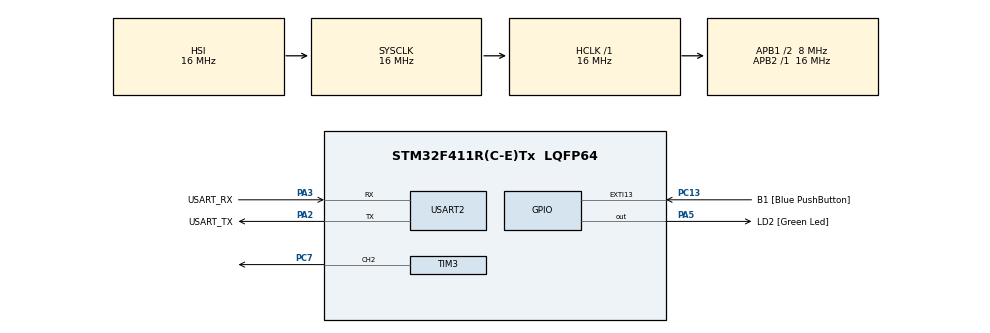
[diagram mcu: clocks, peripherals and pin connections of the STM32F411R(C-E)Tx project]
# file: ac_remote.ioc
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Mcu.Family=STM32F4
Mcu.Name=STM32F411R(C-E)Tx
Mcu.Package=LQFP64
NVIC.PriorityGroup=NVIC_PRIORITYGROUP_0
NVIC.TIM1_TRG_COM_TIM11_IRQn=true\:0\:0\:false\:false\:true\:true\:true\:true
NVIC.USART2_IRQn=true\:0\:0\:false\:false\:true\:true\:true\:true
PA13.GPIO_Label=TMS
PA13.Mode=Serial_Wire
PA13.Signal=SYS_JTMS-SWDIO
PA14.GPIO_Label=TCK
PA14.Mode=Serial_Wire
PA14.Signal=SYS_JTCK-SWCLK
PA2.GPIO_Label=USART_TX
PA2.Mode=Asynchronous
PA2.Signal=USART2_TX
PA3.GPIO_Label=USART_RX
PA3.Mode=Asynchronous
PA3.Signal=USART2_RX
PA5.GPIO_Label=LD2 [Green Led]
PA5.Signal=GPIO_Output
PB3.GPIO_Label=SWO
PB3.Signal=SYS_JTDO-SWO
PC13-ANTI_TAMP.GPIO_Label=B1 [Blue PushButton]
PC13-ANTI_TAMP.GPIO_ModeDefaultEXTI=GPIO_MODE_IT_FALLING
PC13-ANTI_TAMP.Signal=GPXTI13
PC14-OSC32_IN.Mode=LSE-External-Oscillator
PC14-OSC32_IN.Signal=RCC_OSC32_IN
PC15-OSC32_OUT.Mode=LSE-External-Oscillator
PC15-OSC32_OUT.Signal=RCC_OSC32_OUT
PC7.Signal=S_TIM3_CH2
PH0\ -\ OSC_IN.Mode=HSE-External-Clock-Source
PH0\ -\ OSC_IN.Signal=RCC_OSC_IN
PH1\ -\ OSC_OUT.Mode=HSE-External-Clock-Source
PH1\ -\ OSC_OUT.Signal=RCC_OSC_OUT
ProjectManager.HeapSize=0x200
ProjectManager.StackSize=0x400
ProjectManager.TargetToolchain=MDK-ARM V5.32
RCC.48MHZClocksFreq_Value=84000000
RCC.AHBFreq_Value=16000000
RCC.APB1CLKDivider=RCC_HCLK_DIV2
RCC.APB1Freq_Value=8000000
RCC.APB1TimFreq_Value=16000000
RCC.APB2Freq_Value=16000000
RCC.APB2TimFreq_Value=16000000
RCC.CortexFreq_Value=16000000
RCC.FLatency-AdvancedSettings=FLASH_LATENCY_0
RCC.HCLKFreq_Value=16000000
RCC.HSE_VALUE=8000000
RCC.HSI_VALUE=16000000
RCC.PLLN=336
RCC.PLLP=RCC_PLLP_DIV4
RCC.SYSCLKFreq_VALUE=16000000
RCC.VCOOutputFreq_Value=336000000
SH.S_TIM3_CH2.0=TIM3_CH2,PWM Generation2 CH2
TIM3.Channel-PWM\ Generation2\ CH2=TIM_CHANNEL_2
TIM3.Period=420
TIM3.Pulse-PWM\ Generation2\ CH2=140
USART2.VirtualMode=VM_ASYNC
VP_TIM11_VS_ClockSourceINT.Mode=Enable_Timer
VP_TIM3_VS_ClockSourceINT.Mode=Internal
board=NUCLEO-F411RE

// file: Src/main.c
/* USER CODE BEGIN Header */
/**
  ******************************************************************************
  * @file           : main.c
  * @brief          : Main program body
  ******************************************************************************
  * @attention
  *
  * Copyright (c) 2026 STMicroelectronics.
  * All rights reserved.
  *
  * This software is licensed under terms that can be found in the LICENSE file
  * in the root directory of this software component.
  * If no LICENSE file comes with this software, it is provided AS-IS.
  *
  ******************************************************************************
  */
/* USER CODE END Header */
#include "main.h"

/* USER CODE BEGIN Includes */
#include <stdio.h>
#include <stdint.h>
/* USER CODE END Includes */

/* USER CODE BEGIN PTD */
typedef enum {
  ON,
  OFF
} state_t;
/* USER CODE END PTD */

/* USER CODE BEGIN PD */
#define MODE_AUTO 0b0000
#define MODE_COOL 0b0001
#define MODE_DRY  0b0010
#define MODE_HEAT 0b0011
#define MODE_FAN  0b0100
#define MODE_OFF 0b0111
#define FAN_AUTO 0b0000
#define FAN_1 0b0100
#define FAN_2 0b0110
#define FAN_3 0b1000
#define FAN_4 0b1010
#define FAN_5 0b1100
#define BYTE_1 0b11110010
#define BYTE_2 0b00001101
#define BYTE_3 0b00000011
#define BYTE_4 0b11111100
#define BYTE_5 0b00000001
#define BYTE_8_NO_PURE 0b00000000
#define BYTE_8_PURE 0b00010000
#define BUFF_SIZE 9
/* USER CODE END PD */

TIM_HandleTypeDef htim3;
TIM_HandleTypeDef htim11;

UART_HandleTypeDef huart2;

/* USER CODE BEGIN PV */
volatile uint8_t rx_char;
volatile uint8_t transmitting = 0;
volatile uint16_t index = 0;
volatile uint8_t send_ack = 0;
volatile uint16_t tmr_intervals[294];
volatile uint8_t repeat_flag = 1;

/* USER CODE END PV */

void SystemClock_Config(void);
static void MX_GPIO_Init(void);
static void MX_TIM3_Init(void);
static void MX_TIM11_Init(void);
static void MX_USART2_UART_Init(void);
/* USER CODE BEGIN PFP */
void create_instruction(uint8_t rx, uint8_t *buff);
void xor_cheksum(uint8_t *buff, int size);
void interrupt_intervals(uint16_t *intervals, uint8_t *command, int length);

/* USER CODE END PFP */

int main(void)
{

  /* USER CODE BEGIN 1 */
    uint8_t inital_msg[50];
    int msg_length;
    uint8_t command[9] = {0};
    state_t state = OFF; //Initialize with state off
    uint8_t on_flag = 0;

  /* USER CODE END 1 */

  /* MCU Configuration--------------------------------------------------------*/

  /* Reset of all peripherals, Initializes the Flash interface and the Systick. */
  HAL_Init();

  /* Configure the system clock */
  SystemClock_Config();

  /* Initialize all configured peripherals */
  MX_GPIO_Init();
  MX_TIM3_Init();
  MX_TIM11_Init();
  MX_USART2_UART_Init();
  /* USER CODE BEGIN 2 */
	HAL_UART_Receive_IT(&huart2, (uint8_t*)&rx_char, 1);

  msg_length = sprintf(inital_msg, "System Initialized.... \r\n");
  HAL_UART_Transmit(&huart2, inital_msg, msg_length, 10);

  /* USER CODE END 2 */

  /* Infinite loop */
  /* USER CODE BEGIN WHILE */
  while (1)
  {

   //Check states
   if(state == OFF){
    //We fist need to open the AC
    if(rx_char != 'B') {
			__NOP();
		};
    if(rx_char == 'B'){
      on_flag = 1;
      state = ON; //Update the state

    }
   }

   if(state == ON) on_flag = 1;

   //START PROCESSING IF FLAG IS ON
   if(on_flag == 1 && transmitting == 0 && repeat_flag == 0){
          //Raise repeat flag to not re-transmit the message
          repeat_flag = 1;

          //Use create instruction to create the bitstring
          create_instruction(rx_char, command);

          //Create the cheksum (last byte)
          xor_cheksum(command, BUFF_SIZE);

          //Fill the array with the intervals between each interrupt
          interrupt_intervals(tmr_intervals, command, BUFF_SIZE);

          //Also check if the command was off to drop the on flag
          if(rx_char == 'A') {
            on_flag = 0;
            state = OFF;
          }
          //Set step to zero and set transmitting to one so we start transmitting
          transmitting = 1;
          index = 1;
          //Iitialize the first interrupt duration and start the timer(TIM11)
          __HAL_TIM_SET_AUTORELOAD(&htim11, tmr_intervals[0]);
          HAL_TIM_Base_Start_IT(&htim11);
          //Start PWM
          HAL_TIM_PWM_Start(&htim3, TIM_CHANNEL_2);

          //From now on we leave the interrupt service routine and the callback to run the pwm
   }

   if(send_ack){
       send_ack = 0;

       // send ack msg with \n in the end so readline from py script can recognize the end of the message
       uint8_t ack_msg[3] = {rx_char, '\r', '\n'};
       HAL_UART_Transmit(&huart2, ack_msg, 3, 10);

   }

   __WFI();
    /* USER CODE END WHILE */

  }
}

void SystemClock_Config(void)
{
  RCC_OscInitTypeDef RCC_OscInitStruct = {0};
  RCC_ClkInitTypeDef RCC_ClkInitStruct = {0};

  /** Configure the main internal regulator output voltage
  */
  __HAL_RCC_PWR_CLK_ENABLE();
  __HAL_PWR_VOLTAGESCALING_CONFIG(PWR_REGULATOR_VOLTAGE_SCALE1);

  /** Initializes the RCC Oscillators according to the specified parameters
  * in the RCC_OscInitTypeDef structure.
  */
  RCC_OscInitStruct.OscillatorType = RCC_OSCILLATORTYPE_HSI;
  RCC_OscInitStruct.HSIState = RCC_HSI_ON;
  RCC_OscInitStruct.HSICalibrationValue = RCC_HSICALIBRATION_DEFAULT;
  RCC_OscInitStruct.PLL.PLLState = RCC_PLL_NONE;
  if (HAL_RCC_OscConfig(&RCC_OscInitStruct) != HAL_OK)
  {
    Error_Handler();
  }

  /** Initializes the CPU, AHB and APB buses clocks
  */
  RCC_ClkInitStruct.ClockType = RCC_CLOCKTYPE_HCLK|RCC_CLOCKTYPE_SYSCLK
                              |RCC_CLOCKTYPE_PCLK1|RCC_CLOCKTYPE_PCLK2;
  RCC_ClkInitStruct.SYSCLKSource = RCC_SYSCLKSOURCE_HSI;
  RCC_ClkInitStruct.AHBCLKDivider = RCC_SYSCLK_DIV1;
  RCC_ClkInitStruct.APB1CLKDivider = RCC_HCLK_DIV2;
  RCC_ClkInitStruct.APB2CLKDivider = RCC_HCLK_DIV1;

  if (HAL_RCC_ClockConfig(&RCC_ClkInitStruct, FLASH_LATENCY_0) != HAL_OK)
  {
    Error_Handler();
  }
}

static void MX_TIM3_Init(void)
{

  TIM_ClockConfigTypeDef sClockSourceConfig = {0};
  TIM_MasterConfigTypeDef sMasterConfig = {0};
  TIM_OC_InitTypeDef sConfigOC = {0};

  htim3.Instance = TIM3;
  htim3.Init.Prescaler = 0;
  htim3.Init.CounterMode = TIM_COUNTERMODE_UP;
  htim3.Init.Period = 420;
  htim3.Init.ClockDivision = TIM_CLOCKDIVISION_DIV1;
  htim3.Init.AutoReloadPreload = TIM_AUTORELOAD_PRELOAD_DISABLE;
  if (HAL_TIM_Base_Init(&htim3) != HAL_OK)
  {
    Error_Handler();
  }
  sClockSourceConfig.ClockSource = TIM_CLOCKSOURCE_INTERNAL;
  if (HAL_TIM_ConfigClockSource(&htim3, &sClockSourceConfig) != HAL_OK)
  {
    Error_Handler();
  }
  if (HAL_TIM_PWM_Init(&htim3) != HAL_OK)
  {
    Error_Handler();
  }
  sMasterConfig.MasterOutputTrigger = TIM_TRGO_RESET;
  sMasterConfig.MasterSlaveMode = TIM_MASTERSLAVEMODE_DISABLE;
  if (HAL_TIMEx_MasterConfigSynchronization(&htim3, &sMasterConfig) != HAL_OK)
  {
    Error_Handler();
  }
  sConfigOC.OCMode = TIM_OCMODE_PWM1;
  sConfigOC.Pulse = 140;
  sConfigOC.OCPolarity = TIM_OCPOLARITY_HIGH;
  sConfigOC.OCFastMode = TIM_OCFAST_DISABLE;
  if (HAL_TIM_PWM_ConfigChannel(&htim3, &sConfigOC, TIM_CHANNEL_2) != HAL_OK)
  {
    Error_Handler();
  }
  HAL_TIM_MspPostInit(&htim3);

}

static void MX_TIM11_Init(void)
{

  htim11.Instance = TIM11;
  htim11.Init.Prescaler = 0;
  htim11.Init.CounterMode = TIM_COUNTERMODE_UP;
  htim11.Init.Period = 65535;
  htim11.Init.ClockDivision = TIM_CLOCKDIVISION_DIV1;
  htim11.Init.AutoReloadPreload = TIM_AUTORELOAD_PRELOAD_DISABLE;
  if (HAL_TIM_Base_Init(&htim11) != HAL_OK)
  {
    Error_Handler();
  }

}

static void MX_USART2_UART_Init(void)
{

  huart2.Instance = USART2;
  huart2.Init.BaudRate = 115200;
  huart2.Init.WordLength = UART_WORDLENGTH_8B;
  huart2.Init.StopBits = UART_STOPBITS_1;
  huart2.Init.Parity = UART_PARITY_NONE;
  huart2.Init.Mode = UART_MODE_TX_RX;
  huart2.Init.HwFlowCtl = UART_HWCONTROL_NONE;
  huart2.Init.OverSampling = UART_OVERSAMPLING_16;
  if (HAL_UART_Init(&huart2) != HAL_OK)
  {
    Error_Handler();
  }

}

static void MX_GPIO_Init(void)
{
  GPIO_InitTypeDef GPIO_InitStruct = {0};

  /* GPIO Ports Clock Enable */
  __HAL_RCC_GPIOC_CLK_ENABLE();
  __HAL_RCC_GPIOH_CLK_ENABLE();
  __HAL_RCC_GPIOA_CLK_ENABLE();
  __HAL_RCC_GPIOB_CLK_ENABLE();

  /*Configure GPIO pin Output Level */
  HAL_GPIO_WritePin(LD2_GPIO_Port, LD2_Pin, GPIO_PIN_RESET);

  /*Configure GPIO pin : B1_Pin */
  GPIO_InitStruct.Pin = B1_Pin;
  GPIO_InitStruct.Mode = GPIO_MODE_IT_FALLING;
  GPIO_InitStruct.Pull = GPIO_NOPULL;
  HAL_GPIO_Init(B1_GPIO_Port, &GPIO_InitStruct);

  /*Configure GPIO pin : LD2_Pin */
  GPIO_InitStruct.Pin = LD2_Pin;
  GPIO_InitStruct.Mode = GPIO_MODE_OUTPUT_PP;
  GPIO_InitStruct.Pull = GPIO_NOPULL;
  GPIO_InitStruct.Speed = GPIO_SPEED_FREQ_LOW;
  HAL_GPIO_Init(LD2_GPIO_Port, &GPIO_InitStruct);

}

/* USER CODE BEGIN 4 */

//Receive UART callback
void HAL_UART_RxCpltCallback(UART_HandleTypeDef *huart){
  //Check if intrp was fired from our uart channel
  if(huart -> Instance == USART2){
     if(rx_char == 'R' || rx_char == 'r') {
       NVIC_SystemReset(); //Reset if we receive r or R
     }
     repeat_flag = 0; //Drop the flag so we can initiate the transmittion
     HAL_UART_Receive_IT(&huart2, (uint8_t*)&rx_char, 1);
  }
}

/*COMMAND CONSTRUCT FUNCTION  (EXEPT SETTEPM)*/
void create_instruction(uint8_t rx, uint8_t *buff){

    uint8_t temp; //For tempup and tempdown
    uint8_t mode; //Capture mode when needed
    uint8_t fan_vol; //Capture fan volume when needed

    buff[0] = BYTE_1;
    buff[1] = BYTE_2;
    buff[2] = BYTE_3;
    buff[3] = BYTE_4;
    buff[4] = BYTE_5;

    //OFF CASE
    if(rx == 'A'){
      buff[6] = MODE_OFF;
    }
    //ON(CASE) Just to make it easier on will always be at 22/cool/fan_2/no pure
    if(rx == 'B'){
      //Just write the temp
      buff[5] = 0b01010000;
      //Load the FAN_VOL and left shift because FAN settings are the 4 MSBs
      buff[6] = FAN_2;
      buff[6] = buff[6] << 4;
      //load mode in the lowest 4 bits
      buff[6] = buff[6] | MODE_COOL;
      buff[7] = BYTE_8_NO_PURE;
    }
    //TEMPUP CASE
    if(rx == 'C'){
      //Save current mode
      mode = buff[5] & 0b00001111;
      //4 rigth shift to take the temp
      temp = buff[5] >> 4;
      //Still temp has 5 bits and the MSB is always 1 in the range we want located on LSB of BYTE 4
      temp = temp | 0b00010000;
      temp = temp + 1;
      //Reconstruct the byte
      buff[5] = temp << 5; //(5 because MSB needs to go to the previous byte . Its already there)
      buff [5] = buff[5] | mode;
    }
    //TEMPDOWN CASE
    if(rx == 'D'){
      //Save current mode
      mode = buff[5] & 0b00001111;
      //4 rigth shift to take the temp
      temp = buff[5] >> 4;
      //Still temp has 5 bits and the MSB is always 1 in the range we want located on LSB of BYTE 4
      temp = temp | 0b00010000;
      temp = temp - 1;
      //Reconstruct the byte
      buff[5] = temp << 5; //(5 because MSB needs to go to the previous byte . Its already there)
      buff [5] = buff[5] | mode;
    }
    //MODE SET
    if(rx == 'E' || rx == 'F' || rx == 'G' || rx == 'H' || rx == 'I'){
      //Erase current mode
      buff[6] = buff[6] & 0b11110000;
      //load new mode
         switch(rx){
          case 'E': mode = MODE_AUTO; break;
          case 'F': mode = MODE_COOL; break;
          case 'G': mode = MODE_DRY; break;
          case 'H': mode = MODE_HEAT; break;
          case 'I': mode = MODE_FAN; break;
         }
         //Replace the mode
      buff[6] = buff[6] | mode;
    }
    //FAN VOLUME SET
    if(rx == 'J' || rx == 'K' || rx == 'L' || rx == 'M' || rx == 'N' || rx == 'O'){

      //Save mode
      mode = buff[6] & 0b00001111;
      //Load new fan vol
      switch(rx){
          case 'J': fan_vol = FAN_AUTO; break;
          case 'K': fan_vol = FAN_1; break;
          case 'L': fan_vol = FAN_2; break;
          case 'M': fan_vol = FAN_3; break;
          case 'N': fan_vol = FAN_4; break;
          case 'O': fan_vol = FAN_5; break;
         }
         //Replace the fan vol
         buff[6] = fan_vol << 4;
         //Reload mode
         buff[6] = buff[6] | mode;
    }
    //PURE
    if(rx == 'P'){
      //Set bit 5 of byte 8 to 0
       buff[7] = buff[7] | 0b00010000;
    }
    //NO PURE
    if(rx == 'Q') buff[7] = buff[7] & 0b11101111;
   //CREATE THE LAST BYTE
    xor_cheksum(buff, BUFF_SIZE);
}
/*CREATE THE LAST BYTE (CHEKSUM) XORING ALL THE OTHER BYTES*/
void xor_cheksum(uint8_t *buff, int size){

  uint8_t xor_result = buff[0];
  //Xor all the bytes
  for(int i = 1; i< size - 1; i++){

       xor_result = buff[i] ^ xor_result;
  }
  //Assign the result to BYTE 9
  buff[8] = xor_result;
}

void interrupt_intervals(uint16_t *intervals, uint8_t *command, int length){

  int repeat_offset = (length*2*8) + 4;
  //SET the header intervals
  intervals[0] = 4300;
  intervals[1] = 4300;
  intervals[ repeat_offset] = 4300;
  intervals[ repeat_offset + 1] = 4300;

  //Set the rest of the intervals
  for(int i = 0; i < length; i++){
    for(int j = 0; j < 8; j++){
      //If bit is one 580-1570
      if(((command[i] >> (7 - j)) & 0x01) == 0x01){
            intervals[2 + (8*i + j)*2] = 580;
            intervals[3 + (8*i + j)*2] = 1570;
            //Set the intervals for the repeated sequence
             intervals[2 + (8*i + j)*2  + repeat_offset] = 580;
            intervals[3 + (8*i + j)*2 + repeat_offset] = 1570;
      }
      //If bit is zero 580-490
      if(((command[i] >> (7 - j)) & 0x01) == 0x00){
            intervals[2 + (8*i + j)*2] = 580;
            intervals[3 + (8*i + j)*2] = 490;
            //Set the intervals for the repeated sequence
             intervals[2 + (8*i + j)*2  + repeat_offset] = 580;
            intervals[3 + (8*i + j)*2 + repeat_offset] = 490;
      }
    }
  }
  //Set the repeat pulse intervals
  intervals[repeat_offset - 2] = 580;
  intervals[repeat_offset - 1] = 7400;
}
//Change apporeach and enter those in tim11calback sthn isr toy dhladh

//TIM11 (timer) Callback
void HAL_TIM_PeriodElapsedCallback(TIM_HandleTypeDef *htim){

  if(htim -> Instance == TIM11){
    //When the entire message has been transmitted
    if(index >= 294){
      //Stop transmiting
      transmitting = 0;
      //Stop the timer
      HAL_TIM_Base_Stop_IT(&htim11);
      //Reset index
      index = 0;
      //Set the send ack
      send_ack = 1;
      //Just for safety stop PWM
      HAL_TIM_PWM_Stop(&htim3, TIM_CHANNEL_2);
    }
    //TRANSMITTING...
    else{
      //Update the TIM11 interrupt interval
      __HAL_TIM_SET_AUTORELOAD(&htim11, tmr_intervals[index]);
      //Evenpulses on
      if(index % 2 == 0 ){
        //We have even so pulse is high start pwm
        HAL_TIM_PWM_Start(&htim3, TIM_CHANNEL_2);
      }
      //ODD pulses off
      if(index % 2 !=0 ){
        //We have even so pulse is high start pwm
        HAL_TIM_PWM_Stop(&htim3, TIM_CHANNEL_2);
      }
    }
     index++;
  }
}

/* USER CODE END 4 */

void Error_Handler(void)
{
  __disable_irq();
  while (1)
  {
  }
}
